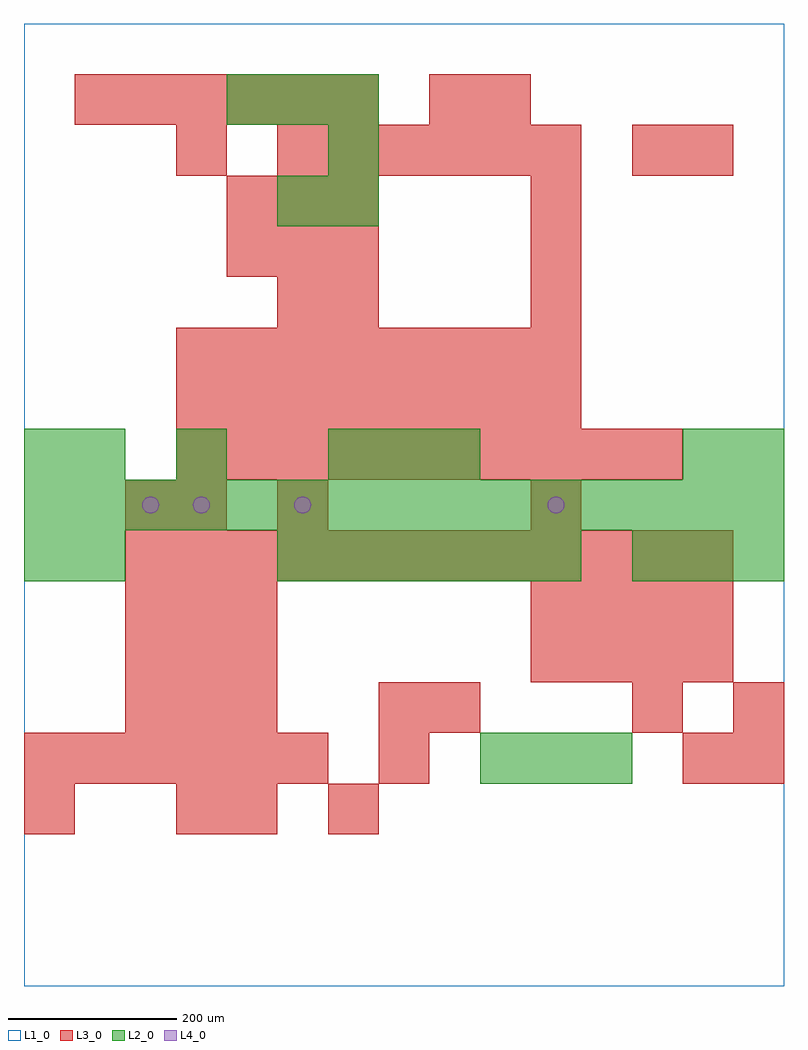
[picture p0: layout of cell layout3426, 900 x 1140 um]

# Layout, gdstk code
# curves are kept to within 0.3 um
import gdstk
lib = gdstk.Library(unit=1e-6, precision=1e-09)
def R(c, l, rs):  # rectangles x0, y0, x1, y1
    for r in rs: c.add(gdstk.rectangle(r[:2], r[2:], *l))
def A(c, l, x, y, w, h, nx, ny, dx, dy):  # array of equal rectangles
    R(c, l, [(x+i*dx, y+j*dy, x+i*dx+w, y+j*dy+h) for i in range(nx) for j in range(ny)])
def P(c, l, *ps):  # polygons
    for p in ps: c.add(gdstk.Polygon(p, *l))
L1_0 = (1, 0)
L2_0 = (2, 0)
L3_0 = (3, 0)
L4_0 = (4, 0)

layout3426 = lib.new_cell('layout3426')
R(layout3426, L1_0, [(0,0,900,1140)])
A(layout3426, L2_0, 540, 240, 60, 60, 3, 1, 60, 0)
A(layout3426, L2_0, 300, 480, 60, 60, 6, 1, 60, 0)
A(layout3426, L2_0, 720, 480, 60, 60, 3, 1, 60, 0)
A(layout3426, L2_0, 0, 540, 60, 60, 15, 1, 60, 0)
A(layout3426, L2_0, 360, 600, 60, 60, 3, 1, 60, 0)
A(layout3426, L2_0, 240, 1020, 60, 60, 3, 1, 60, 0)
R(layout3426, L2_0, [(0,480,60,540), (60,480,120,540), (0,600,60,660), (60,600,120,660), (180,600,240,660), (780,600,840,660), (840,600,900,660), (300,900,360,960), (360,900,420,960), (360,960,420,1020)])
A(layout3426, L3_0, 0, 240, 60, 60, 6, 1, 60, 0)
A(layout3426, L3_0, 120, 300, 60, 60, 3, 3, 60, 60)
A(layout3426, L3_0, 600, 360, 60, 60, 4, 2, 60, 60)
A(layout3426, L3_0, 120, 480, 60, 60, 12, 1, 60, 0)
A(layout3426, L3_0, 180, 600, 60, 60, 10, 1, 60, 0)
A(layout3426, L3_0, 180, 660, 60, 60, 8, 2, 60, 60)
A(layout3426, L3_0, 600, 780, 60, 60, 1, 3, 0, 60)
A(layout3426, L3_0, 240, 840, 60, 60, 3, 2, 60, 60)
A(layout3426, L3_0, 300, 960, 60, 60, 6, 1, 60, 0)
A(layout3426, L3_0, 60, 1020, 60, 60, 6, 1, 60, 0)
R(layout3426, L3_0, [(0,180,60,240), (180,180,240,240), (240,180,300,240), (360,180,420,240), (420,240,480,300), (780,240,840,300), (840,240,900,300), (420,300,480,360), (480,300,540,360), (720,300,780,360), (840,300,900,360), (120,540,180,600), (180,540,240,600), (300,540,360,600), (600,540,660,600), (300,780,360,840), (360,780,420,840), (180,960,240,1020), (720,960,780,1020), (780,960,840,1020), (480,1020,540,1080), (540,1020,600,1080)])
P(layout3426, L4_0, [(160,570),(159.239,573.827),(157.071,577.071),(153.827,579.239),(150,580),(146.173,579.239),(142.929,577.071),(140.761,573.827),(140,570),(140.761,566.173),(142.929,562.929),(146.173,560.761),(150,560),(153.827,560.761),(157.071,562.929),(159.239,566.173)],
  [(220,570),(219.239,573.827),(217.071,577.071),(213.827,579.239),(210,580),(206.173,579.239),(202.929,577.071),(200.761,573.827),(200,570),(200.761,566.173),(202.929,562.929),(206.173,560.761),(210,560),(213.827,560.761),(217.071,562.929),(219.239,566.173)],
  [(340,570),(339.239,573.827),(337.071,577.071),(333.827,579.239),(330,580),(326.173,579.239),(322.929,577.071),(320.761,573.827),(320,570),(320.761,566.173),(322.929,562.929),(326.173,560.761),(330,560),(333.827,560.761),(337.071,562.929),(339.239,566.173)],
  [(640,570),(639.239,573.827),(637.071,577.071),(633.827,579.239),(630,580),(626.173,579.239),(622.929,577.071),(620.761,573.827),(620,570),(620.761,566.173),(622.929,562.929),(626.173,560.761),(630,560),(633.827,560.761),(637.071,562.929),(639.239,566.173)])

lib.write_gds('layout3426.gds')
